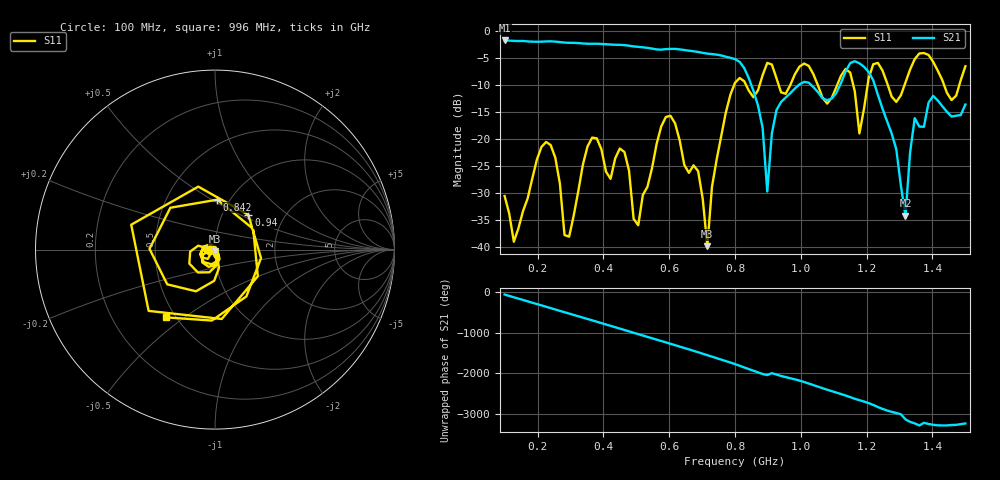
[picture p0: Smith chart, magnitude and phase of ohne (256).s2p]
! NanoVNA-App
! Date: 2025-09-25 14:22:47
! Start: 100MHz Stop: 1,5GHz Points: 101
! S-Parameter data: F S11 S21 S12 S22
# Hz S RI R 50
!  Frequency  S11_Real  S11_Imag  S21_Real  S21_Imag  S12_Real  S12_Imag  S22_Real  S22_Imag
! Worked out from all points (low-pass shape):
!   101 points, 100 MHz to 1.5 GHz, reference 50 ohm
!   highest |S21| = -1.79 dB at 100 MHz (marker M1); lowest = -34.3 dB at 1.318 GHz (marker M2)
!   |S21| within 3 dB of the highest: start of sweep to 771.6 MHz
!   lowest |S11| = -39.9 dB at 716 MHz (marker M3), VSWR 1.02, Z = 49.8 - j0.981 ohm
!   |S11| at or under -10 dB: start of sweep to 797.8 MHz; 833.2 MHz to 875.1 MHz (41.9 MHz wide, 4.91 % of centre); 1.051 GHz to 1.111 GHz (59.67 MHz wide, 5.52 % of centre) (the widest 3 of 7)
!   S12 and S22 are empty: the file has one direction only
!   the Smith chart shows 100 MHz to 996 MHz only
!   S11 on the Smith chart (normalised r, x): 100 MHz: 0.94, -0.01; 842 MHz: 0.88, +0.53; 940 MHz: 1.32, +0.55; 996 MHz: 0.44, -0.43
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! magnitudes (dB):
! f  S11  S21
! 100 MHz  -30.6  -1.8
! 128 MHz  -39.1  -1.9
! 226 MHz  -20.6  -2.0
! 296 MHz  -38.2  -2.2
! 338 MHz  -24.8  -2.4
! 464 MHz  -22.5  -2.7
! 506 MHz  -36.0  -3.0
! 576 MHz  -17.7  -3.5
! 688 MHz  -26.0  -3.9
! 716 MHz  -39.9  -4.2
! 800 MHz  -9.7  -5.3
! 842 MHz  -11.1  -8.8
! 898 MHz  -6.0  -29.8
! 940 MHz  -11.4  -13.2
! 996 MHz  -6.6  -9.9
! 1.038 GHz  -8.0  -10.4
! 1.178 GHz  -19.0  -6.0
! 1.22 GHz  -6.2  -9.2
! 1.276 GHz  -12.2  -19.1
! 1.318 GHz  -9.6  -34.3
! 1.346 GHz  -5.3  -16.2
! 1.5 GHz  -6.6  -13.7
